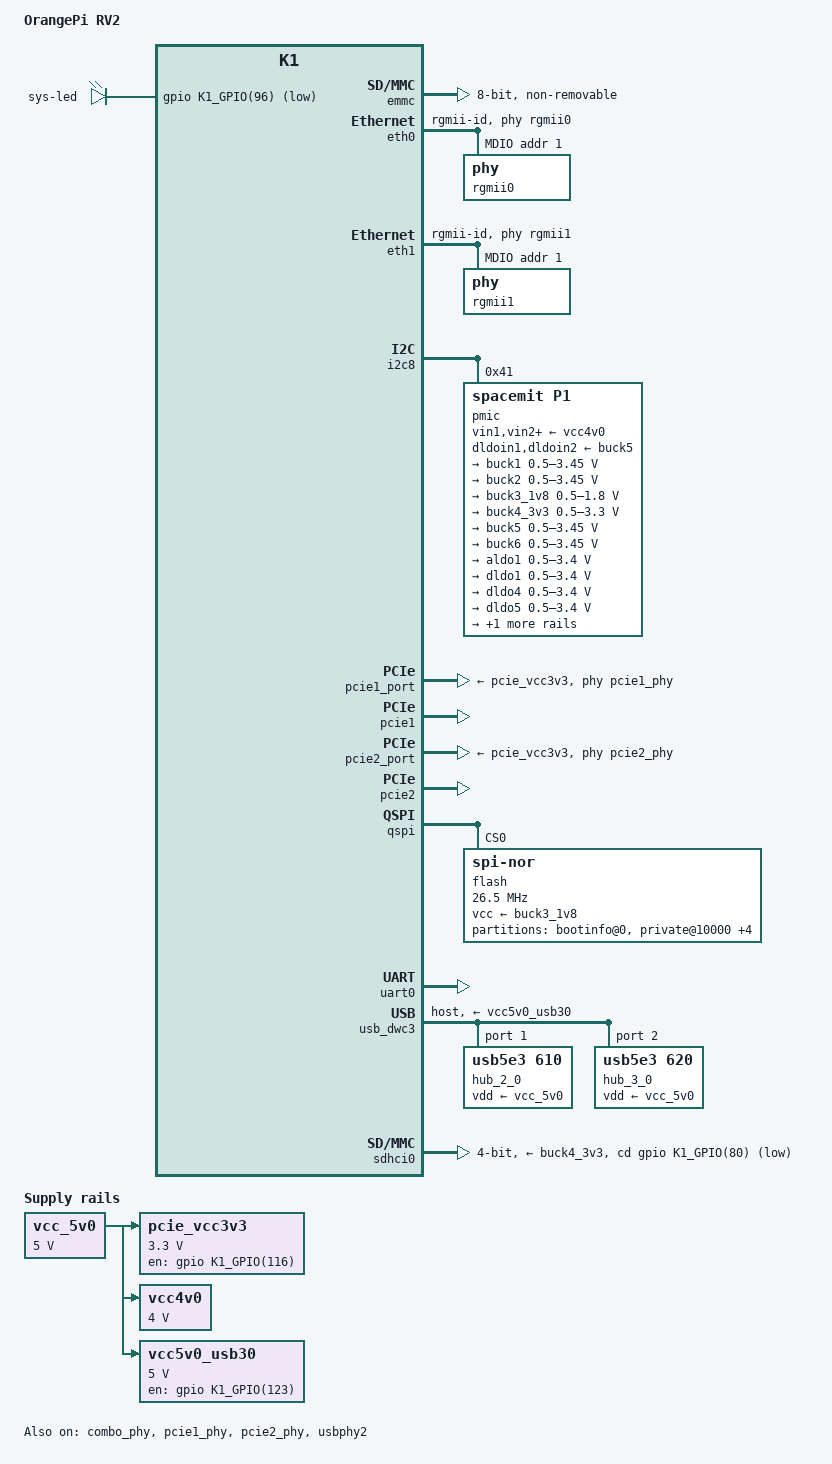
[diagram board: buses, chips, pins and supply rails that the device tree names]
// SPDX-License-Identifier: (GPL-2.0 OR MIT)
/*
 * Copyright (C) 2024 Yangyu Chen <cyy@cyyself.name>
 * Copyright (C) 2025 Hendrik Hamerlinck <hendrik.hamerlinck@hammernet.be>
 */

/dts-v1/;

#include "k1.dtsi"
#include "k1-pinctrl.dtsi"

/ {
	model = "OrangePi RV2";
	compatible = "xunlong,orangepi-rv2", "spacemit,k1";

	aliases {
		serial0 = &uart0;
		ethernet0 = &eth0;
		ethernet1 = &eth1;
		mmc0 = &emmc;
		mmc1 = &sdhci0;
	};

	chosen {
		stdout-path = "serial0";
	};

	pcie_vcc3v3: regulator-pcie-vcc3v3 {
		compatible = "regulator-fixed";
		enable-active-high;
		gpios = <&gpio K1_GPIO(116) GPIO_ACTIVE_HIGH>;
		regulator-name = "pcie_vcc3v3";
		regulator-min-microvolt = <3300000>;
		regulator-max-microvolt = <3300000>;
		vin-supply = <&vcc_5v0>;
	};

	vcc_5v0: regulator-vcc-5v0 {
		compatible = "regulator-fixed";
		regulator-name = "vcc_5v0";
		regulator-always-on;
		regulator-boot-on;
		regulator-min-microvolt = <5000000>;
		regulator-max-microvolt = <5000000>;
	};

	vcc4v0: regulator-vcc4v0 {
		compatible = "regulator-fixed";
		regulator-name = "vcc4v0";
		regulator-always-on;
		regulator-boot-on;
		regulator-min-microvolt = <4000000>;
		regulator-max-microvolt = <4000000>;
		vin-supply = <&vcc_5v0>;
	};

	vcc5v0_usb30: regulator-vcc5v0-usb30 {
		compatible = "regulator-fixed";
		enable-active-high;
		gpios = <&gpio K1_GPIO(123) GPIO_ACTIVE_HIGH>;
		regulator-name = "vcc5v0_usb30";
		regulator-min-microvolt = <5000000>;
		regulator-max-microvolt = <5000000>;
		vin-supply = <&vcc_5v0>;
	};

	leds {
		compatible = "gpio-leds";

		led1 {
			label = "sys-led";
			gpios = <&gpio K1_GPIO(96) GPIO_ACTIVE_LOW>;
			linux,default-trigger = "heartbeat";
			default-state = "on";
		};
	};
};

&combo_phy {
	status = "okay";
};

&emmc {
	bus-width = <8>;
	mmc-hs400-1_8v;
	mmc-hs400-enhanced-strobe;
	no-sd;
	no-sdio;
	non-removable;
	status = "okay";
};

&eth0 {
	phy-handle = <&rgmii0>;
	phy-mode = "rgmii-id";
	pinctrl-names = "default";
	pinctrl-0 = <&gmac0_cfg>;
	rx-internal-delay-ps = <0>;
	tx-internal-delay-ps = <0>;
	status = "okay";

	mdio-bus {
		#address-cells = <0x1>;
		#size-cells = <0x0>;

		reset-gpios = <&gpio K1_GPIO(110) GPIO_ACTIVE_LOW>;
		reset-delay-us = <10000>;
		reset-post-delay-us = <100000>;

		rgmii0: phy@1 {
			reg = <0x1>;
			motorcomm,auto-sleep-disabled;
		};
	};
};

&eth1 {
	phy-handle = <&rgmii1>;
	phy-mode = "rgmii-id";
	pinctrl-names = "default";
	pinctrl-0 = <&gmac1_cfg>;
	rx-internal-delay-ps = <0>;
	tx-internal-delay-ps = <250>;
	status = "okay";

	mdio-bus {
		#address-cells = <0x1>;
		#size-cells = <0x0>;

		reset-gpios = <&gpio K1_GPIO(115) GPIO_ACTIVE_LOW>;
		reset-delay-us = <10000>;
		reset-post-delay-us = <100000>;

		rgmii1: phy@1 {
			reg = <0x1>;
			motorcomm,auto-sleep-disabled;
		};
	};
};

&pdma {
	status = "okay";
};

&i2c8 {
	pinctrl-names = "default";
	pinctrl-0 = <&i2c8_cfg>;
	status = "okay";

	pmic@41 {
		compatible = "spacemit,p1";
		reg = <0x41>;
		interrupts = <64>;
		vin1-supply = <&vcc4v0>;
		vin2-supply = <&vcc4v0>;
		vin3-supply = <&vcc4v0>;
		vin4-supply = <&vcc4v0>;
		vin5-supply = <&vcc4v0>;
		vin6-supply = <&vcc4v0>;
		aldoin-supply = <&vcc4v0>;
		dldoin1-supply = <&buck5>;
		dldoin2-supply = <&buck5>;

		regulators {
			buck1 {
				regulator-min-microvolt = <500000>;
				regulator-max-microvolt = <3450000>;
				regulator-ramp-delay = <5000>;
				regulator-always-on;
			};

			buck2 {
				regulator-min-microvolt = <500000>;
				regulator-max-microvolt = <3450000>;
				regulator-ramp-delay = <5000>;
				regulator-always-on;
			};

			buck3_1v8: buck3 {
				regulator-min-microvolt = <500000>;
				regulator-max-microvolt = <1800000>;
				regulator-ramp-delay = <5000>;
				regulator-always-on;
			};

			buck4_3v3: buck4 {
				regulator-min-microvolt = <500000>;
				regulator-max-microvolt = <3300000>;
				regulator-ramp-delay = <5000>;
				regulator-always-on;
			};

			buck5: buck5 {
				regulator-min-microvolt = <500000>;
				regulator-max-microvolt = <3450000>;
				regulator-ramp-delay = <5000>;
				regulator-always-on;
			};

			buck6 {
				regulator-min-microvolt = <500000>;
				regulator-max-microvolt = <3450000>;
				regulator-ramp-delay = <5000>;
				regulator-always-on;
			};

			aldo1: aldo1 {
				regulator-min-microvolt = <500000>;
				regulator-max-microvolt = <3400000>;
				regulator-boot-on;
			};

			aldo2 {
				/* not connected */
			};

			aldo3 {
				/* not connected */
			};

			aldo4 {
				/* not connected */
			};

			dldo1 {
				regulator-min-microvolt = <500000>;
				regulator-max-microvolt = <3400000>;
				regulator-boot-on;
			};

			dldo2 {
				/* not connected */
			};

			dldo3 {
				/* not connected */
			};

			dldo4 {
				regulator-min-microvolt = <500000>;
				regulator-max-microvolt = <3400000>;
				regulator-always-on;
			};

			dldo5 {
				regulator-min-microvolt = <500000>;
				regulator-max-microvolt = <3400000>;
			};

			dldo6 {
				regulator-min-microvolt = <500000>;
				regulator-max-microvolt = <3400000>;
				regulator-always-on;
			};

			dldo7 {
				/* not connected */
			};
		};
	};
};

&pcie1_phy {
	pinctrl-names = "default";
	pinctrl-0 = <&pcie1_3_cfg>;
	status = "okay";
};

&pcie1_port {
	phys = <&pcie1_phy>;
	vpcie3v3-supply = <&pcie_vcc3v3>;
};

&pcie1 {
	status = "okay";
};

&pcie2_phy {
	pinctrl-names = "default";
	pinctrl-0 = <&pcie2_4_cfg>;
	status = "okay";
};

&pcie2_port {
	phys = <&pcie2_phy>;
	vpcie3v3-supply = <&pcie_vcc3v3>;
};

&pcie2 {
	status = "okay";
};

&qspi {
	pinctrl-names = "default";
	pinctrl-0 = <&qspi_cfg>;
	status = "okay";

	flash@0 {
		compatible = "jedec,spi-nor";
		reg = <0>;
		spi-max-frequency = <26500000>;
		spi-rx-bus-width = <4>;
		spi-tx-bus-width = <4>;
		vcc-supply = <&buck3_1v8>;

		partitions {
			compatible = "fixed-partitions";
			#address-cells = <1>;
			#size-cells = <1>;

			bootinfo@0 {
				reg = <0x00000 0x010000>;
			};

			private@10000 {
				reg = <0x10000 0x010000>;
			};

			fsbl@20000 {
				reg = <0x20000 0x040000>;
			};

			env@60000 {
				reg = <0x60000 0x010000>;
			};

			opensbi@70000 {
				reg = <0x70000 0x030000>;
			};

			uboot@a0000 {
				reg = <0xa0000 0x760000>;
			};
		};
	};
};

&uart0 {
	pinctrl-names = "default";
	pinctrl-0 = <&uart0_2_cfg>;
	status = "okay";
};

&usbphy2 {
	status = "okay";
};

&usb_dwc3 {
	dr_mode = "host";
	#address-cells = <1>;
	#size-cells = <0>;
	vbus-supply = <&vcc5v0_usb30>;
	status = "okay";

	hub_2_0: hub@1 {
		compatible = "usb5e3,610";
		reg = <0x1>;
		peer-hub = <&hub_3_0>;
		vdd-supply = <&vcc_5v0>;
	};

	hub_3_0: hub@2 {
		compatible = "usb5e3,620";
		reg = <0x2>;
		peer-hub = <&hub_2_0>;
		vdd-supply = <&vcc_5v0>;
	};
};

&sdhci0 {
	pinctrl-names = "default", "uhs";
	pinctrl-0 = <&mmc1_cfg>;
	pinctrl-1 = <&mmc1_uhs_cfg>;
	bus-width = <4>;
	cd-gpios = <&gpio K1_GPIO(80) GPIO_ACTIVE_LOW>;
	no-mmc;
	no-sdio;
	disable-wp;
	cap-sd-highspeed;
	vmmc-supply = <&buck4_3v3>;
	vqmmc-supply = <&aldo1>;
	sd-uhs-sdr25;
	sd-uhs-sdr50;
	sd-uhs-sdr104;
	status = "okay";
};
